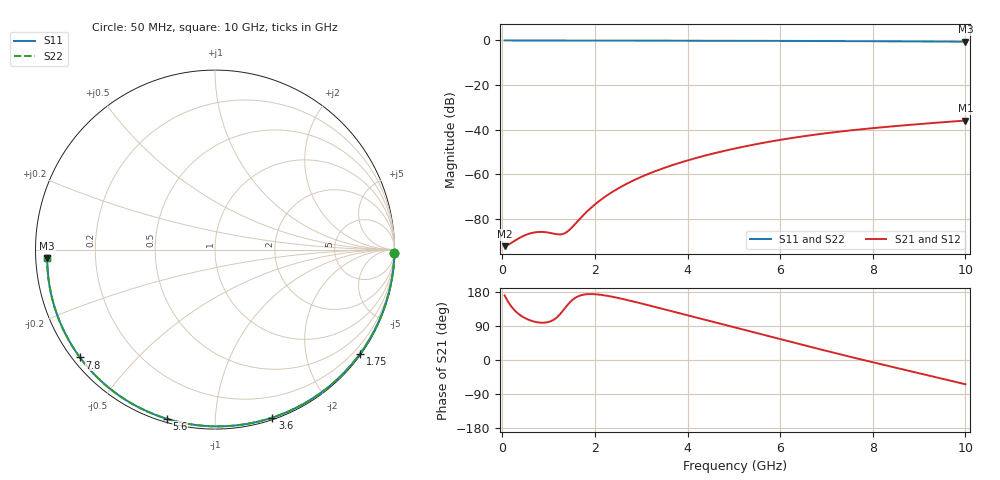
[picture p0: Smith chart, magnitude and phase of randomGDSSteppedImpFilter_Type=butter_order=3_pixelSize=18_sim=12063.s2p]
! freq	dB(S11)	phase(S11)	dB(S12)	phase(S12)
!  dB(S21)	phase(S21)	dB(S22)	phase(S22)
!S-par simulation data
#  GHz  S  DB  R 50
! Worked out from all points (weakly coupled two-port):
!   200 points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, 50 MHz to 10 GHz, reference 50 ohm
!   highest |S21| = -35.98 dB at 10 GHz (marker M1); lowest = -92.4 dB at 50 MHz (marker M2)
!   lowest |S11| = -0.6 dB at 10 GHz (marker M3), VSWR 30.40, Z = 1.65 - j1.31 ohm
!   |S11| at or under -10 dB: nowhere
!   |S22| runs from -0.6 to 0.0 dB; largest |S21 - S12| = 0
!   S11 on the Smith chart (normalised r, x): 50 MHz: open; 1.75 GHz: 0.03, -3.10; 3.6 GHz: 0.02, -1.40; 5.6 GHz: 0.02, -0.75; 7.8 GHz: 0.02, -0.35; 10 GHz: 0.03, -0.03
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0.05  -0.00 -1.0  -92.39 170.4  -92.39 170.4  -0.00 -1.0
0.4  -0.01 -8.3  -88.36 117.2  -88.36 117.2  -0.01 -8.3
0.8  -0.02 -16.6  -86.01 98.8  -86.01 98.8  -0.02 -16.6
1.2  -0.03 -24.7  -87.09 114.8  -87.09 114.8  -0.03 -24.7
1.65  -0.04 -33.7  -80.68 168.7  -80.68 168.7  -0.04 -33.7
1.7  -0.04 -34.7  -79.56 170.8  -79.56 170.8  -0.04 -34.7
1.75  -0.05 -35.7  -78.47 172.3  -78.47 172.3  -0.05 -35.7
2.05  -0.05 -41.7  -72.81 173.1  -72.81 173.1  -0.05 -41.7
2.25  -0.06 -45.6  -69.74 169.7  -69.74 169.7  -0.06 -45.6
2.45  -0.06 -49.5  -67.10 165.0  -67.10 165.0  -0.06 -49.5
2.9  -0.08 -58.1  -62.21 152.3  -62.21 152.3  -0.08 -58.1
3.4  -0.09 -67.4  -57.96 136.9  -57.96 136.9  -0.09 -67.4
3.6  -0.10 -71.1  -56.50 130.6  -56.50 130.6  -0.10 -71.1
4.3  -0.12 -83.7  -52.14 108.5  -52.14 108.5  -0.12 -83.7
5.05  -0.15 -96.7  -48.40 84.9  -48.40 84.9  -0.15 -96.7
5.6  -0.17 -105.9  -46.11 67.6  -46.11 67.6  -0.17 -105.9
6.15  -0.21 -115.0  -44.14 50.4  -44.14 50.4  -0.21 -115.0
6.7  -0.24 -123.9  -42.46 33.2  -42.46 33.2  -0.24 -123.9
7.8  -0.33 -141.4  -39.79 -0.1  -39.79 -0.1  -0.33 -141.4
8.35  -0.38 -150.1  -38.71 -16.1  -38.71 -16.1  -0.38 -150.1
9.2  -0.47 -163.8  -37.23 -40.5  -37.23 -40.5  -0.47 -163.8
10  -0.57 -177.0  -35.98 -64.1  -35.98 -64.1  -0.57 -177.0
